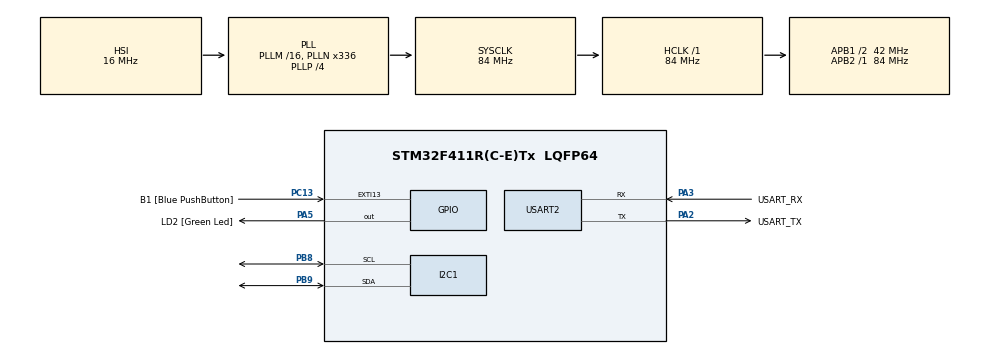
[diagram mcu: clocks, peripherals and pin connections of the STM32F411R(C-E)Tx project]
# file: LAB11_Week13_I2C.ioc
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Mcu.Family=STM32F4
PC15-OSC32_OUT.Mode=LSE-External-Oscillator
RCC.CortexFreq_Value=84000000
NVIC.I2C1_EV_IRQn=true\:0\:0\:false\:false\:true\:true\:true
PC13-ANTI_TAMP.GPIO_Label=B1 [Blue PushButton]
PA14.GPIO_Label=TCK
PH1\ -\ OSC_OUT.Mode=HSE-External-Clock-Source
RCC.APB1CLKDivider=RCC_HCLK_DIV2
PC14-OSC32_IN.Signal=RCC_OSC32_IN
RCC.SYSCLKSource=RCC_SYSCLKSOURCE_PLLCLK
ProjectManager.StackSize=0x400
PA13.Signal=SYS_JTMS-SWDIO
PA3.Mode=Asynchronous
PH0\ -\ OSC_IN.Mode=HSE-External-Clock-Source
PH0\ -\ OSC_IN.Signal=RCC_OSC_IN
ProjectManager.TargetToolchain=STM32CubeIDE
I2C1.I2C_Mode=I2C_Fast
RCC.HCLKFreq_Value=84000000
PB9.Mode=I2C
RCC.APB2TimFreq_Value=84000000
PC15-OSC32_OUT.Signal=RCC_OSC32_OUT
RCC.AHBFreq_Value=84000000
PA5.Signal=GPIO_Output
RCC.HSE_VALUE=8000000
PH1\ -\ OSC_OUT.Signal=RCC_OSC_OUT
board=NUCLEO-F411RE
PC13-ANTI_TAMP.Signal=GPXTI13
RCC.VCOOutputFreq_Value=336000000
RCC.APB2Freq_Value=84000000
PC14-OSC32_IN.Mode=LSE-External-Oscillator
PA14.Mode=Serial_Wire
PA13.Mode=Serial_Wire
NVIC.I2C1_ER_IRQn=true\:0\:0\:false\:false\:true\:true\:true
Mcu.Name=STM32F411R(C-E)Tx
PA2.Signal=USART2_TX
PA13.GPIO_Label=TMS
RCC.FLatency-AdvancedSettings=FLASH_LATENCY_2
RCC.48MHZClocksFreq_Value=84000000
PB3.Signal=SYS_JTDO-SWO
RCC.SYSCLKFreq_VALUE=84000000
Mcu.Package=LQFP64
PB9.Signal=I2C1_SDA
PA5.GPIO_Label=LD2 [Green Led]
USART2.VirtualMode=VM_ASYNC
PC13-ANTI_TAMP.GPIO_ModeDefaultEXTI=GPIO_MODE_IT_FALLING
PA2.GPIO_Label=USART_TX
PA14.Signal=SYS_JTCK-SWCLK
ProjectManager.HeapSize=0x200
RCC.HSI_VALUE=16000000
RCC.PLLP=RCC_PLLP_DIV4
NVIC.PriorityGroup=NVIC_PRIORITYGROUP_0
PB8.Mode=I2C
RCC.PLLN=336
RCC.APB1TimFreq_Value=84000000
PA2.Mode=Asynchronous
PB8.Signal=I2C1_SCL
RCC.APB1Freq_Value=42000000
PA3.GPIO_Label=USART_RX
PA3.Signal=USART2_RX
PB3.GPIO_Label=SWO

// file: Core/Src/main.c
/* USER CODE BEGIN Header */
/**
  ******************************************************************************
  * @file           : main.c
  * @brief          : Main program body
  ******************************************************************************
  * @attention
  *
  * <h2><center>&copy; Copyright (c) 2021 STMicroelectronics.
  * All rights reserved.</center></h2>
  *
  * This software component is licensed by ST under BSD 3-Clause license,
  * the "License"; You may not use this file except in compliance with the
  * License. You may obtain a copy of the License at:
  *                        opensource.org/licenses/BSD-3-Clause
  *
  ******************************************************************************
  */
/* USER CODE END Header */
#include "main.h"

/* USER CODE BEGIN PD */
#define EEPROM_ADDR 0b10100000
#define IOEXPD_ADDR 0b01000000 // 0100 000 + 0 7bits(+1bit)
/* USER CODE END PD */

I2C_HandleTypeDef hi2c1;

UART_HandleTypeDef huart2;

/* USER CODE BEGIN PV */
uint8_t eepromExample_Write_Flag = 0;
uint8_t eepromExample_Read_Flag = 0;
uint8_t IOExpdrExample_Write_Flag = 0;
uint8_t IOExpdrExample_Read_Flag = 0;
uint8_t eepromDataRead_Back[4];
uint8_t IOExpdrDataRead_Back;
uint8_t IOExpdrData_Write = 0b00000000;

uint8_t BlueButtonArray[2] = {1,1};//[0,1] == {Now,Past}

typedef enum
{
	detect_Button,
	Read_IOExpdr,
	Write_eeprom,
	Read_eeprom,
	Write_IOExpdr,
}State_Machine;

/* USER CODE END PV */

void SystemClock_Config(void);
static void MX_GPIO_Init(void);
static void MX_USART2_UART_Init(void);
static void MX_I2C1_Init(void);
/* USER CODE BEGIN PFP */
void EEPROMWriteExample(uint8_t SW_data);
void EEPROMReadExample(uint8_t *Rdata, uint16_t len);

void IOExpenderInit();
void IOExpenderReadPinA(uint8_t *Rdata);
void IOExpenderWritePinB(uint8_t Wdata);
/* USER CODE END PFP */

int main(void)
{

  /* MCU Configuration--------------------------------------------------------*/

  /* Reset of all peripherals, Initializes the Flash interface and the Systick. */
  HAL_Init();

  /* Configure the system clock */
  SystemClock_Config();

  /* Initialize all configured peripherals */
  MX_GPIO_Init();
  MX_USART2_UART_Init();
  MX_I2C1_Init();
  /* USER CODE BEGIN 2 */
  HAL_Delay(100);
  IOExpenderInit();
  /* USER CODE END 2 */

  /* Infinite loop */
  while (1)
  {

    /* USER CODE BEGIN 3 */

//	detect_Button,
//	Read_IOExpdr,
//	Write_eeprom,
//	Read_eeprom,
//	Write_IOExpdr,

	static State_Machine State = Read_eeprom;
	switch(State)
	{
		case detect_Button :
			BlueButtonArray[1] = BlueButtonArray[0];//Past
			BlueButtonArray[0] = HAL_GPIO_ReadPin(GPIOC, GPIO_PIN_13);//Now
			if(BlueButtonArray[1] == 0 && BlueButtonArray[0] == 1)
			{
				State = Read_IOExpdr;
			}
			break;
		case Read_IOExpdr :
			IOExpdrExample_Read_Flag = 1;
			IOExpenderReadPinA(&IOExpdrDataRead_Back);
			State = Write_eeprom;
			HAL_Delay(50);  // HAVE TO !!!!!
			break;
		case Write_eeprom :
			eepromExample_Write_Flag = 1;
			EEPROMWriteExample(IOExpdrDataRead_Back);
			State = Read_eeprom;
			HAL_Delay(50);
			break;
		case Read_eeprom :
			eepromExample_Read_Flag = 1;
			EEPROMReadExample(eepromDataRead_Back, 4);
			State = Write_IOExpdr;
			HAL_Delay(50);
			break;
		case Write_IOExpdr :
			IOExpdrExample_Write_Flag = 1;
			IOExpdrData_Write = ((eepromDataRead_Back[0]) | (eepromDataRead_Back[1]<<1) |
					 (eepromDataRead_Back[2]<<2) | (eepromDataRead_Back[3]<<3)) | 0b11110000;
			HAL_Delay(50);
			IOExpenderWritePinB(IOExpdrData_Write);
			State = detect_Button;
			HAL_Delay(50);
			break;
	}
//	EEPROMWriteExample();
//	EEPROMReadExample(eepromDataRead_Back, 4);
//
//	IOExpenderReadPinA(&IOExpdrDataRead_Back);
//	IOExpenderWritePinB(IOExpdrData_Write);
  }
  /* USER CODE END 3 */
}

void SystemClock_Config(void)
{
  RCC_OscInitTypeDef RCC_OscInitStruct = {0};
  RCC_ClkInitTypeDef RCC_ClkInitStruct = {0};

  /** Configure the main internal regulator output voltage
  */
  __HAL_RCC_PWR_CLK_ENABLE();
  __HAL_PWR_VOLTAGESCALING_CONFIG(PWR_REGULATOR_VOLTAGE_SCALE1);
  /** Initializes the RCC Oscillators according to the specified parameters
  * in the RCC_OscInitTypeDef structure.
  */
  RCC_OscInitStruct.OscillatorType = RCC_OSCILLATORTYPE_HSI;
  RCC_OscInitStruct.HSIState = RCC_HSI_ON;
  RCC_OscInitStruct.HSICalibrationValue = RCC_HSICALIBRATION_DEFAULT;
  RCC_OscInitStruct.PLL.PLLState = RCC_PLL_ON;
  RCC_OscInitStruct.PLL.PLLSource = RCC_PLLSOURCE_HSI;
  RCC_OscInitStruct.PLL.PLLM = 16;
  RCC_OscInitStruct.PLL.PLLN = 336;
  RCC_OscInitStruct.PLL.PLLP = RCC_PLLP_DIV4;
  RCC_OscInitStruct.PLL.PLLQ = 4;
  if (HAL_RCC_OscConfig(&RCC_OscInitStruct) != HAL_OK)
  {
    Error_Handler();
  }
  /** Initializes the CPU, AHB and APB buses clocks
  */
  RCC_ClkInitStruct.ClockType = RCC_CLOCKTYPE_HCLK|RCC_CLOCKTYPE_SYSCLK
                              |RCC_CLOCKTYPE_PCLK1|RCC_CLOCKTYPE_PCLK2;
  RCC_ClkInitStruct.SYSCLKSource = RCC_SYSCLKSOURCE_PLLCLK;
  RCC_ClkInitStruct.AHBCLKDivider = RCC_SYSCLK_DIV1;
  RCC_ClkInitStruct.APB1CLKDivider = RCC_HCLK_DIV2;
  RCC_ClkInitStruct.APB2CLKDivider = RCC_HCLK_DIV1;

  if (HAL_RCC_ClockConfig(&RCC_ClkInitStruct, FLASH_LATENCY_2) != HAL_OK)
  {
    Error_Handler();
  }
}

static void MX_I2C1_Init(void)
{

  hi2c1.Instance = I2C1;
  hi2c1.Init.ClockSpeed = 400000;
  hi2c1.Init.DutyCycle = I2C_DUTYCYCLE_2;
  hi2c1.Init.OwnAddress1 = 0;
  hi2c1.Init.AddressingMode = I2C_ADDRESSINGMODE_7BIT;
  hi2c1.Init.DualAddressMode = I2C_DUALADDRESS_DISABLE;
  hi2c1.Init.OwnAddress2 = 0;
  hi2c1.Init.GeneralCallMode = I2C_GENERALCALL_DISABLE;
  hi2c1.Init.NoStretchMode = I2C_NOSTRETCH_DISABLE;
  if (HAL_I2C_Init(&hi2c1) != HAL_OK)
  {
    Error_Handler();
  }

}

static void MX_USART2_UART_Init(void)
{

  huart2.Instance = USART2;
  huart2.Init.BaudRate = 115200;
  huart2.Init.WordLength = UART_WORDLENGTH_8B;
  huart2.Init.StopBits = UART_STOPBITS_1;
  huart2.Init.Parity = UART_PARITY_NONE;
  huart2.Init.Mode = UART_MODE_TX_RX;
  huart2.Init.HwFlowCtl = UART_HWCONTROL_NONE;
  huart2.Init.OverSampling = UART_OVERSAMPLING_16;
  if (HAL_UART_Init(&huart2) != HAL_OK)
  {
    Error_Handler();
  }

}

static void MX_GPIO_Init(void)
{
  GPIO_InitTypeDef GPIO_InitStruct = {0};

  /* GPIO Ports Clock Enable */
  __HAL_RCC_GPIOC_CLK_ENABLE();
  __HAL_RCC_GPIOH_CLK_ENABLE();
  __HAL_RCC_GPIOA_CLK_ENABLE();
  __HAL_RCC_GPIOB_CLK_ENABLE();

  /*Configure GPIO pin Output Level */
  HAL_GPIO_WritePin(LD2_GPIO_Port, LD2_Pin, GPIO_PIN_RESET);

  /*Configure GPIO pin : B1_Pin */
  GPIO_InitStruct.Pin = B1_Pin;
  GPIO_InitStruct.Mode = GPIO_MODE_IT_FALLING;
  GPIO_InitStruct.Pull = GPIO_NOPULL;
  HAL_GPIO_Init(B1_GPIO_Port, &GPIO_InitStruct);

  /*Configure GPIO pin : LD2_Pin */
  GPIO_InitStruct.Pin = LD2_Pin;
  GPIO_InitStruct.Mode = GPIO_MODE_OUTPUT_PP;
  GPIO_InitStruct.Pull = GPIO_NOPULL;
  GPIO_InitStruct.Speed = GPIO_SPEED_FREQ_LOW;
  HAL_GPIO_Init(LD2_GPIO_Port, &GPIO_InitStruct);

}

/* USER CODE BEGIN 4 */
void EEPROMWriteExample(uint8_t SW_data) {
	if (eepromExample_Write_Flag && hi2c1.State == HAL_I2C_STATE_READY) {

		static uint8_t data[4] = {0};
		data[0] =(SW_data>>3) & 0b00000001;
		data[1] =(SW_data>>2) & 0b00000001;
		data[2] =(SW_data>>1) & 0b00000001;
		data[3] = SW_data & 0b00000001;

		HAL_I2C_Mem_Write_IT(&hi2c1, EEPROM_ADDR, 0x34, I2C_MEMADD_SIZE_16BIT,
				data, 4);

		eepromExample_Write_Flag = 0;
	}
}
void EEPROMReadExample(uint8_t *Rdata, uint16_t len) {
	if (eepromExample_Read_Flag && hi2c1.State == HAL_I2C_STATE_READY) {

		HAL_I2C_Mem_Read_IT(&hi2c1, EEPROM_ADDR, 0x34, I2C_MEMADD_SIZE_16BIT,
				Rdata, len);
		eepromExample_Read_Flag = 0;
	}
}
void IOExpenderInit() {
	//Init All
	static uint8_t Setting[0x16] = { 0xFF, 0x00, 0x00, 0x00, 0x00, 0x00, 0x00,   //0x00 = set input , 0x01 = set output
			0x00, 0x00, 0x00, 0x00, 0x00, 0xFF, 0x00, 0x00, 0x00, 0x00, 0x00,    //0x0C = set pull-up
			0x00, 0x00, 0x00, 0x00 };
	HAL_I2C_Mem_Write(&hi2c1, IOEXPD_ADDR, 0x00, I2C_MEMADD_SIZE_8BIT, Setting,
			0x16, 100);
}
void IOExpenderReadPinA(uint8_t *Rdata) {
	if (IOExpdrExample_Read_Flag && hi2c1.State == HAL_I2C_STATE_READY) {
		HAL_I2C_Mem_Read_IT(&hi2c1, IOEXPD_ADDR, 0x12, I2C_MEMADD_SIZE_8BIT,
				Rdata, 1);
		IOExpdrExample_Read_Flag =0;
	}
}
void IOExpenderWritePinB(uint8_t Wdata) {
	if (IOExpdrExample_Write_Flag && hi2c1.State == HAL_I2C_STATE_READY) {
		static uint8_t data;
		data = Wdata;
		HAL_I2C_Mem_Write_IT(&hi2c1, IOEXPD_ADDR, 0x15, I2C_MEMADD_SIZE_8BIT,
				&data, 1);
		IOExpdrExample_Write_Flag=0;
	}
}
/* USER CODE END 4 */

void Error_Handler(void)
{
  __disable_irq();
  while (1)
  {
  }
}

/************************ (C) COPYRIGHT STMicroelectronics *****END OF FILE****/
